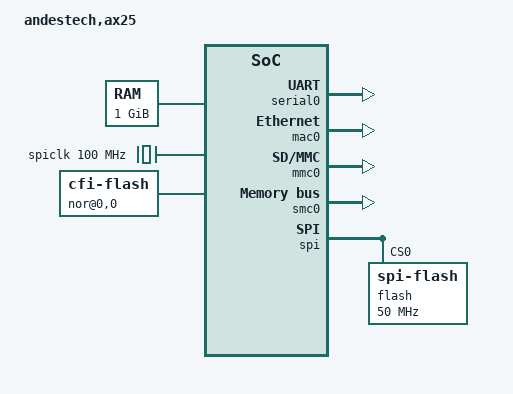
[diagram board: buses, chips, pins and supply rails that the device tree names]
/dts-v1/;

/ {
	#address-cells = <2>;
	#size-cells = <2>;
	compatible = "andestech,ax25";
	model = "andestech,ax25";

	aliases {
		uart0 = &serial0;
		spi0 = &spi;
	};

	chosen {
		bootargs = "console=ttyS0,38400n8 earlyprintk=uart8250-32bit,0xf0300000 debug loglevel=7";
		stdout-path = "uart0:38400n8";
	};

	cpus {
		#address-cells = <1>;
		#size-cells = <0>;
		timebase-frequency = <10000000>;

		CPU0: cpu@0 {
			device_type = "cpu";
			reg = <0>;
			status = "okay";
			compatible = "riscv";
			riscv,isa = "rv64imafdc";
			mmu-type = "riscv,sv39";
			clock-frequency = <60000000>;

			CPU0_intc: interrupt-controller {
				#interrupt-cells = <1>;
				interrupt-controller;
				compatible = "riscv,cpu-intc";
			};
		};
	};

	memory@0 {
		device_type = "memory";
		reg = <0x0 0x00000000 0x0 0x40000000>;
	};

	soc {
		#address-cells = <2>;
		#size-cells = <2>;
		compatible = "andestech,riscv-ae350-soc";
		ranges;
	};

	plmt0@e6000000 {
		compatible = "riscv,plmt0";
		interrupts-extended = <&CPU0_intc 7>;
		reg = <0x0 0xe6000000 0x0 0x100000>;
	};

	plic0: interrupt-controller@e4000000 {
		compatible = "riscv,plic0";
		#address-cells = <2>;
		#interrupt-cells = <2>;
		interrupt-controller;
		reg = <0x0 0xe4000000 0x0 0x2000000>;
		riscv,ndev=<31>;
		interrupts-extended = <&CPU0_intc 11 &CPU0_intc 9>;
	};

	plic1: interrupt-controller@e6400000 {
		compatible = "riscv,plic1";
		#address-cells = <2>;
		#interrupt-cells = <2>;
		interrupt-controller;
		reg = <0x0 0xe6400000 0x0 0x400000>;
		riscv,ndev=<1>;
		interrupts-extended = <&CPU0_intc 3>;
	};

	spiclk: virt_100mhz {
		#clock-cells = <0>;
		compatible = "fixed-clock";
		clock-frequency = <100000000>;
	};

	timer0: timer@f0400000 {
		compatible = "andestech,atcpit100";
		reg = <0x0 0xf0400000 0x0 0x1000>;
		clock-frequency = <40000000>;
		interrupts = <3 4>;
		interrupt-parent = <&plic0>;
	};

	serial0: serial@f0300000 {
		compatible = "andestech,uart16550", "ns16550a";
		reg = <0x0 0xf0300000 0x0 0x1000>;
		interrupts = <9 4>;
		clock-frequency = <19660800>;
		reg-shift = <2>;
		reg-offset = <32>;
		no-loopback-test = <1>;
		interrupt-parent = <&plic0>;
	};

	mac0: mac@e0100000 {
		compatible = "andestech,atmac100";
		reg = <0x0 0xe0100000 0x0 0x1000>;
		interrupts = <19 4>;
		interrupt-parent = <&plic0>;
	};

	mmc0: mmc@f0e00000 {
		compatible = "andestech,atfsdc010";
		max-frequency = <100000000>;
		clock-freq-min-max = <400000 100000000>;
		fifo-depth = <0x10>;
		reg = <0x0 0xf0e00000 0x0 0x1000>;
		interrupts = <18 4>;
		cap-sd-highspeed;
		interrupt-parent = <&plic0>;
	};

	smc0: smc@e0400000 {
		compatible = "andestech,atfsmc020";
		reg = <0x0 0xe0400000 0x0 0x1000>;
	};

	nor@0,0 {
		compatible = "cfi-flash";
		reg = <0x0 0x88000000 0x0 0x1000>;
		bank-width = <2>;
		device-width = <1>;
	};

	spi: spi@f0b00000 {
		compatible = "andestech,atcspi200";
		reg = <0x0 0xf0b00000 0x0 0x1000>;
		#address-cells = <1>;
		#size-cells = <0>;
		num-cs = <1>;
		clocks = <&spiclk>;
		interrupts = <3 4>;
		interrupt-parent = <&plic0>;

		flash@0 {
			compatible = "spi-flash";
			spi-max-frequency = <50000000>;
			reg = <0>;
			spi-cpol;
			spi-cpha;
		};
	};
};
